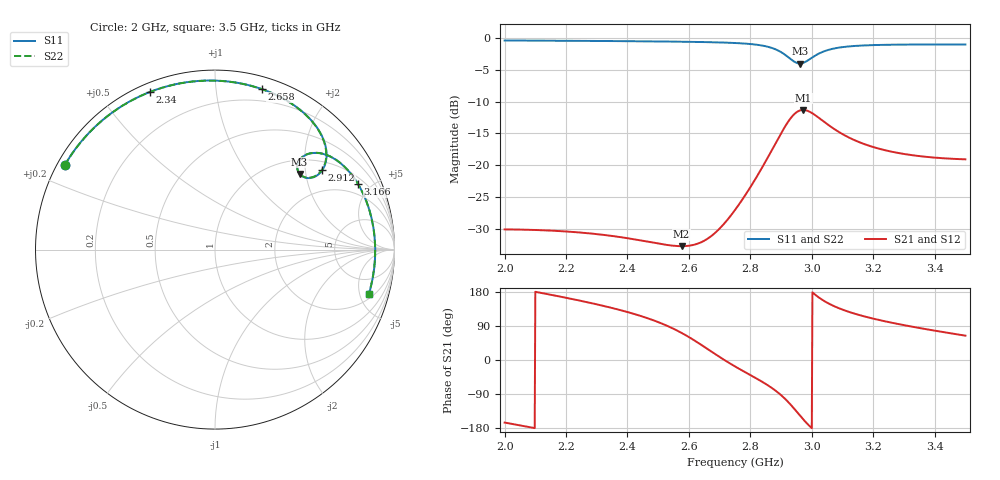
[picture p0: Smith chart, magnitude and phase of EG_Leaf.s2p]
! Touchstone file exported from HFSS 2022.1.0
!  File:  C:/Users/Hamza Safder/Downloads/PSF-V2 with holder (4).aedt
!  Generated:  2:39:35 AM  Sep 30, 2023
!  Design:  HFSSDesign1
!  Project:  PSF-V2 with holder (4)
!  Setup:  Setup1
!  Solution:  Sweep
! Variables:
!  WS = 5mm
!  ax = 15mm
!  az = 3.18mm
!  azd = 3mm
!  bx = 13mm
!  bx2 = 12.5mm
!  bx3 = 3.16mm
!  cin = 27.8mm
!  gap = 0.7mm
!  mid = 3mm
!  shift = 21.24mm
!  strip_1L = 18.62mm
!  substrate_L = 80mm
!  substrate_W = 70mm
!  t = 3mm
!  w50 = 9.18mm
!  wt = 1mm
!  xs = 0.8mm
!  zzz = 8mm
# GHz S MA R 50.000000
! Terminal data exported
! Port[1] = ground_T1
! Port[2] = ground_T2
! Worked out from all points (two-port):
!   751 points, 2 GHz to 3.5 GHz, reference 50 ohm
!   highest |S21| = -11.30 dB at 2.972 GHz (marker M1); lowest = -32.8 dB at 2.576 GHz (marker M2)
!   |S21| within 3 dB of the highest: 2.908 GHz to 3.073 GHz (164.6 MHz wide, 5.5 % of centre)
!   lowest |S11| = -4.0 dB at 2.962 GHz (marker M3), VSWR 4.44, Z = 65.7 + j92.2 ohm
!   |S11| at or under -10 dB: nowhere
!   |S22| runs from -4.0 to -0.4 dB; largest |S21 - S12| = 4.5e-15
!   S11 on the Smith chart (normalised r, x): 2 GHz: 0.02, +0.26; 2.34 GHz: 0.04, +0.67; 2.658 GHz: 0.10, +1.33; 2.912 GHz: 1.25, +2.47; 3.166 GHz: 1.32, +4.17; 3.5 GHz: 2.49, -6.07
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2  0.9604 150.8  0.03116 -165.1  0.03116 -165.1  0.96 150.8
! Gamma 0 0 0 0
! Port Impedance 50 0 50 0
2.12  0.9573 137.5  0.0307 176.9  0.0307 176.9  0.9569 137.5
2.25  0.9534 122.9  0.02938 155.8  0.02938 155.8  0.9531 122.9
2.34  0.9503 112.5  0.02786 139.2  0.02786 139.2  0.9499 112.5
2.5  0.9433 93.5  0.0241 100.0  0.0241 100.0  0.9429 93.6
2.576  0.9388 84.2  0.02298 71.5  0.02298 71.5  0.9383 84.3
2.658  0.9318 73.8  0.02606 30.5  0.02606 30.5  0.9313 73.9
2.702  0.9263 68.0  0.03201 6.9  0.03201 6.9  0.9257 68.1
2.75  0.9171 61.4  0.04428 -17.0  0.04428 -17.0  0.9166 61.5
2.854  0.8598 45.2  0.1117 -65.2  0.1117 -65.2  0.8593 45.4
2.886  0.8094 39.8  0.1546 -83.4  0.1546 -83.4  0.8091 40.0
2.912  0.7435 36.5  0.1997 -101.7  0.1997 -101.7  0.7435 36.7
2.938  0.6655 36.8  0.2452 -124.1  0.2452 -124.1  0.6662 37.0
2.962  0.6321 41.8  0.2699 -147.1  0.2699 -147.1  0.6333 41.9
2.972  0.6395 44.1  0.2721 -156.5  0.2721 -156.5  0.6408 44.2
3  0.7016 46.7  0.2578 -180.0  0.2578 -180.0  0.7027 46.8
3.028  0.767 44.6  0.2309 162.1  0.2309 162.1  0.7678 44.6
3.06  0.8167 40.1  0.2023 146.9  0.2023 146.9  0.8171 40.1
3.166  0.8765 24.7  0.148 116.1  0.148 116.1  0.8764 24.8
3.25  0.8883 13.7  0.1291 100.1  0.1291 100.1  0.8879 13.8
3.37  0.8928 -1.0  0.1164 81.6  0.1164 81.6  0.8923 -0.9
3.5  0.8926 -16.1  0.1111 64.3  0.1111 64.3  0.892 -16.0
